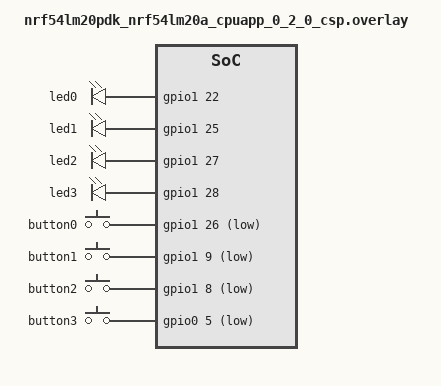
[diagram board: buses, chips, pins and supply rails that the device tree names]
/*
 * Copyright (c) 2025 Nordic Semiconductor ASA
 *
 * SPDX-License-Identifier: LicenseRef-Nordic-5-Clause
 */

/ {
	leds {
		compatible = "gpio-leds";

		led0: led_0 {
			gpios = <&gpio1 22 GPIO_ACTIVE_HIGH>;
		};

		led1: led_1 {
			gpios = <&gpio1 25 GPIO_ACTIVE_HIGH>;
		};

		led2: led_2 {
			gpios = <&gpio1 27 GPIO_ACTIVE_HIGH>;
		};

		led3: led_3 {
			gpios = <&gpio1 28 GPIO_ACTIVE_HIGH>;
		};
	};

	buttons {
		compatible = "gpio-keys";

		button0: button_0 {
			gpios = <&gpio1 26 (GPIO_PULL_UP | GPIO_ACTIVE_LOW)>;
		};

		button1: button_1 {
			gpios = <&gpio1 9 (GPIO_PULL_UP | GPIO_ACTIVE_LOW)>;
		};

		button2: button_2 {
			gpios = <&gpio1 8 (GPIO_PULL_UP | GPIO_ACTIVE_LOW)>;
		};

		button3: button_3 {
			gpios = <&gpio0 5 (GPIO_PULL_UP | GPIO_ACTIVE_LOW)>;
		};
	};
};

&hfpll {
	clock-frequency = <DT_FREQ_M(128)>;
};

&pinctrl {
	/omit-if-no-ref/ uart20_default: uart20_default {
		group1 {
			psels = <NRF_PSEL(UART_TX, 1, 16)>;
		};

		group2 {
			psels = <NRF_PSEL(UART_RX, 1, 17)>;
			bias-pull-up;
		};
	};

	/omit-if-no-ref/ uart20_sleep: uart20_sleep {
		group1 {
			psels = <NRF_PSEL(UART_TX, 1, 16)>,
				<NRF_PSEL(UART_RX, 1, 17)>;
			low-power-enable;
		};
	};
	/omit-if-no-ref/ pwm20_default: pwm20_default {
		group1 {
			psels = <NRF_PSEL(PWM_OUT0, 1, 25)>;
		};
	};

	/omit-if-no-ref/ pwm20_sleep: pwm20_sleep {
		group1 {
			psels = <NRF_PSEL(PWM_OUT0, 1, 25)>;
			low-power-enable;
		};
	};
};
